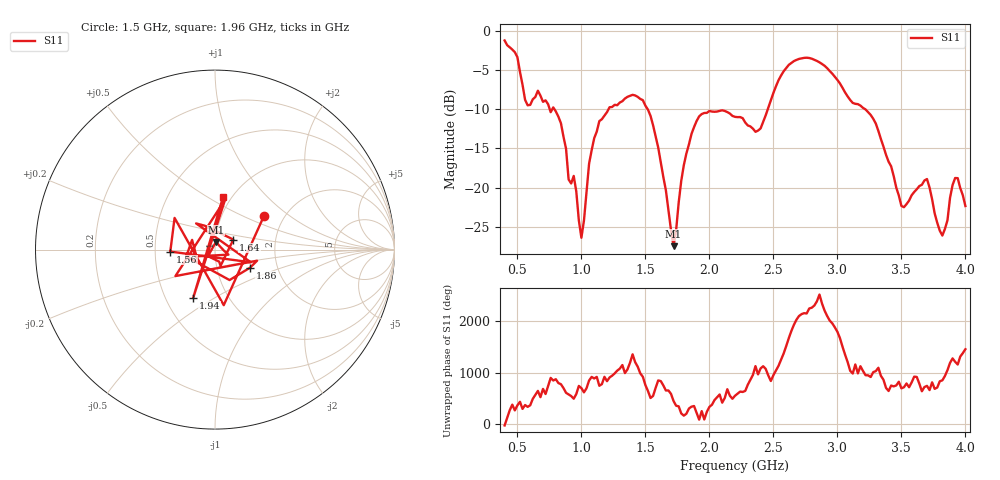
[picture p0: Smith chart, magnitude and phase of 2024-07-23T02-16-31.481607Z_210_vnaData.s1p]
!Created with skrf (http://scikit-rf.org).
# Hz S RI R 50.0
!freq ReS11 ImS11
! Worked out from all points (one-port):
!   181 points, 400 MHz to 4 GHz, reference 50 ohm
!   lowest |S11| = -27.5 dB at 1.72 GHz (marker M1), VSWR 1.09, Z = 50.3 + j4.24 ohm
!   |S11| at or under -10 dB: 788.4 MHz to 1.213 GHz (424.1 MHz wide, 42.4 % of centre); 1.517 GHz to 2.456 GHz (939.3 MHz wide, 47.3 % of centre); 3.215 GHz to end of sweep (the widest 3 of 4)
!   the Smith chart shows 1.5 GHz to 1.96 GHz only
!   S11 on the Smith chart (normalised r, x): 1.5 GHz: 1.58, +0.67; 1.56 GHz: 0.60, -0.01; 1.64 GHz: 1.22, +0.14; 1.86 GHz: 1.44, -0.31; 1.94 GHz: 0.69, -0.40; 1.96 GHz: 0.91, +0.59
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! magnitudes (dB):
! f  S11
! 400 MHz  -1.3
! 500 MHz  -3.4
! 580 MHz  -9.5
! 660 MHz  -7.7
! 860 MHz  -13.5
! 940 MHz  -18.5
! 1 GHz  -26.4
! 1.1 GHz  -13.7
! 1.3 GHz  -9.2
! 1.5 GHz  -9.6
! 1.56 GHz  -12.1
! 1.64 GHz  -18.7
! 1.72 GHz  -27.5
! 1.76 GHz  -21.9
! 1.86 GHz  -13.2
! 1.94 GHz  -10.6
! 1.96 GHz  -10.5
! 2.2 GHz  -11.0
! 2.4 GHz  -12.5
! 2.66 GHz  -3.9
! 3.1 GHz  -8.8
! 3.28 GHz  -11.2
! 3.5 GHz  -22.3
! 3.56 GHz  -21.7
! 3.7 GHz  -18.9
! 3.82 GHz  -26.1
! 3.92 GHz  -18.8
! 4 GHz  -22.4
